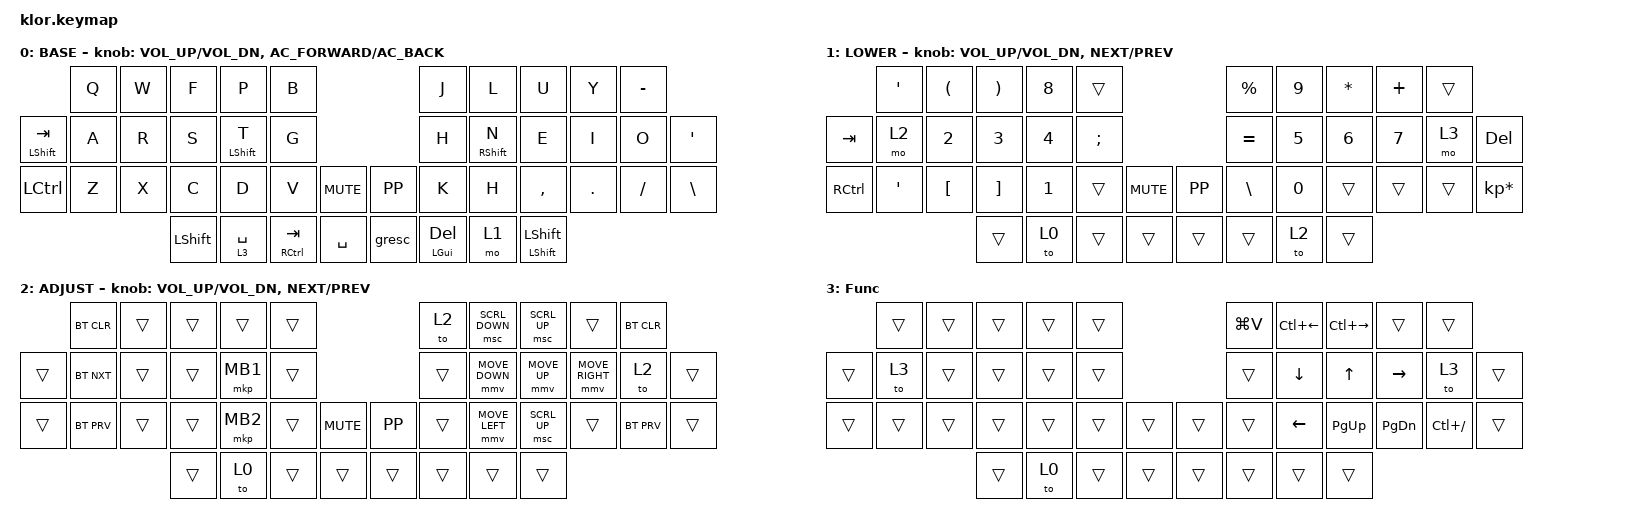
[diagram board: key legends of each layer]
//                               █         █    █            ▄▄▄▀▀▀▀▀▀▄▄▄        █▀▀▀▀▀▀▀▀▀▀█
//                               █        █     █          ▄▀            ▀▄      █          █
//                               █       █      █        ▄▀                ▀▄    █          █
//                               █      █       █        █                  █    █          █
//                               █     █        █       █                    █   █          █
//                               █    █         █       █                    █   █▄▄▄▄▄▄▄▄▄▄█
//                               █   █ █        █       █                    █   █      █
//                               █  █   █       █        █                  █    █       █
//                               █ █     █      █        ▀▄                ▄▀    █        █
//                               ██       █     █          ▀▄            ▄▀      █         █
//                               █         █    █▄▄▄▄▄▄▄▄    ▀▀▀▄▄▄▄▄▄▀▀▀        █          █
//
// ▄▄▄▄▄▄▄▄▄▄▄▄▄▄▄▄▄▄▄▄▄▄▄▄▄▄▄▄▄▄▄▄▄▄▄▄▄▄▄▄▄▄▄▄▄▄▄▄▄▄▄▄▄▄▄▄▄▄▄▄▄▄▄▄▄▄▄▄▄▄▄▄▄▄▄▄▄▄▄▄▄▄▄▄▄▄▄▄▄▄▄▄▄▄▄▄▄▄▄▄▄▄▄▄▄▄▄▄▄▄▄▄▄▄▄▄▄▄▄▄▄▄▄▄▄

#include <behaviors.dtsi>
#include <dt-bindings/zmk/bt.h>
#include <dt-bindings/zmk/keys.h>
#include <dt-bindings/zmk/pointing.h>
#include <dt-bindings/zmk/pointing.h>
#include <dt-bindings/zmk/pointing.h>

#define BASE   0
#define RAISE  1
#define LOWER  2
#define ADJUST 3

&led_strip { chain-length = <21>; };

&sensors {
    left_encoder { triggers-per-rotation = <15>; };

    right_encoder { triggers-per-rotation = <15>; };
};

/ {
    behaviors {
        hm: homerow_mods {
            compatible = "zmk,behavior-hold-tap";
            label = "HOMEROW_MODS";
            #binding-cells = <2>;
            tapping-term-ms = <250>;
            quick_tap_ms = <0>;
            flavor = "tap-preferred";
            bindings = <&kp>, <&kp>;
        };

        rotation: rotation {
            compatible = "zmk,behavior-sensor-rotate";
            label = "ROTATION";
            #sensor-binding-cells = <0>;
            bindings = <&none>, <&none>;
        };
    };

    combos {
        compatible = "zmk,combos";

        combo_esc {
            timeout-ms = <50>;
            key-positions = <1 2>;
            bindings = <&kp LC(C)>;
        };

        go0 {
            timeout-ms = <50>;
            key-positions = <37 42>;
            bindings = <&to 0>;
        };

        tab {
            bindings = <&kp TAB>;
            key-positions = <13 14>;
        };

        esc {
            bindings = <&kp ESC>;
            key-positions = <14 17>;
        };

        patse {
            bindings = <&kp LC(V)>;
            key-positions = <2 3>;
        };

        racket {
            bindings = <&kp LEFT_PARENTHESIS>;
            key-positions = <6 7>;
        };

        close_racket {
            bindings = <&kp RIGHT_PARENTHESIS>;
            key-positions = <7 8>;
        };

        to3 {
            bindings = <&to 3>;
            key-positions = <17 18>;
        };

        gui {
            bindings = <&sk LG(A)>;
            key-positions = <36 43>;
        };
    };

    keymap {
        compatible = "zmk,keymap";

        // ▄▄▄▄▄▄▄▄▄▄▄▄▄▄▄▄▄▄▄▄▄▄▄▄▄▄▄▄▄▄▄▄▄▄▄▄▄▄▄▄▄▄▄▄▄▄▄▄▄▄▄▄▄▄▄▄▄▄▄▄▄▄▄▄▄▄▄▄▄▄▄▄▄▄▄▄▄▄▄▄▄▄▄▄▄▄▄▄▄▄▄▄▄▄▄▄▄▄▄▄▄▄▄▄▄▄▄▄▄▄▄▄▄▄▄▄▄▄▄▄▄▄▄▄▄▄▄▄▄▄▄▄▄▄▄▄▄▄▄▄▄▄

        Colemak {
            // ┌───────────────────────────────────────────────────────────┐

            label = "BASE";

            // └───────────────────────────────────────────────────────────┘
            /*           ┌─────────┬─────────┬─────────┬─────────┬─────────┐                    ┌─────────┬─────────┬─────────┬─────────┬─────────┐
             │    Q    │    W    │    E    │    R    │    T    │                    │    Y    │    U    │    I    │    O    │    P    │   
   ┌─────────┼─────────┼─────────┼─────────┼─────────┼─────────┤                    ├─────────┼─────────┼─────────┼─────────┼─────────┼─────────┐
   │   TAB   │    A    │    S    │    D    │    F    │    G    │                    │    H    │    J    │    K    │    L    │    ;    │    '    │
   ├─────────┼─────────┼─────────┼─────────┼─────────┼─────────┤╭────────╮╭────────╮├─────────┼─────────┼─────────┼─────────┼─────────┼─────────┤
   │   CTRL  │    Z    │    X    │    C    │    V    │    B    ││  MUTE  ││PLY/PSE ││    N    │    M    │    ,    │    .    │    /    │    \    │
   └─────────┴─────────┴─────────┼─────────┼─────────┼─────────┼╰────────╯╰────────╯┼─────────┼─────────┼─────────┼─────────┴─────────┴─────────┘
                                 │  LALT   │  LOWER  │  RALT   │  SPACE  ││  BSPCE  │  ENTER  │  RAISE  │    DEL  │  
                                 └─────────┴─────────┴─────────┴─────────┘└─────────┴─────────┴─────────┴─────────┘ */

            bindings = <
               &kp Q  &kp W  &kp F           &kp P        &kp B                                &kp J             &kp L        &kp U                      &kp Y    &kp MINUS
&hm LSHFT TAB  &kp A  &kp R  &kp S           &hm LSHFT T  &kp G                                &kp H             &hm RSHFT N  &kp E                      &kp I    &kp O      &kp SQT
&kp LCTRL      &kp Z  &kp X  &kp C           &kp D        &kp V          &kp C_MUTE  &kp K_PP  &kp K             &kp H        &kp COMMA                  &kp DOT  &kp FSLH   &kp BSLH
                             &kp LEFT_SHIFT  &lt 3 SPACE  &mt RCTRL TAB  &kp SPACE   &gresc    &mt LEFT_GUI DEL  &mo 1        &mt LEFT_SHIFT LEFT_SHIFT
            >;

            sensor-bindings = <&inc_dec_kp C_VOL_UP C_VOL_DN &inc_dec_kp C_AC_FORWARD C_AC_BACK>;
        };

        Numb {
            // ┌───────────────────────────────────────────────────────────┐

            label = "LOWER";

            // └───────────────────────────────────────────────────────────┘
            /*           ┌─────────┬─────────┬─────────┬─────────┬─────────┐                    ┌─────────┬─────────┬─────────┬─────────┬─────────┐
             │   F1    │   F2    │   F3    │   F4    │   F5    │                    │   F6    │   F7    │   F8    │   F9    │   F10   │
   ┌─────────┼─────────┼─────────┼─────────┼─────────┼─────────┤                    ├─────────┼─────────┼─────────┼─────────┼─────────┼─────────┐
   │    -    │    !    │    @    │    #    │    $    │    %    │                    │    ^    │    &    │    `    │    ~    │    =    │    +    │
   ├─────────┼─────────┼─────────┼─────────┼─────────┼─────────┤╭────────╮╭────────╮├─────────┼─────────┼─────────┼─────────┼─────────┼─────────┤
   │    _    │    1    │    2    │    3    │    4    │    5    ││  MUTE  ││PLY/PASE││    6    │    7    │    8    │    9    │    0    │    *    │
   └─────────┴─────────┴─────────┼─────────┼─────────┼─────────┼╰────────╯╰────────╯┼─────────┼─────────┼─────────┼─────────┴─────────┴─────────┘
                                 │         │         │         │  LSHIFT ││  RSHIFT │         │         │         │  
                                 └─────────┴─────────┴─────────┴─────────┘└─────────┴─────────┴─────────┴─────────┘ */

            bindings = <
           &kp SQT  &kp LPAR          &kp RIGHT_PARENTHESIS  &kp N8        &trans                               &kp PERCENT  &kp N9  &kp ASTERISK  &kp PLUS  &trans
&kp TAB    &mo 2    &kp NUMBER_2      &kp NUMBER_3           &kp NUMBER_4  &kp SEMICOLON                        &kp EQUAL    &kp N5  &kp NUMBER_6  &kp N7    &mo 3   &kp DEL
&kp RCTRL  &kp SQT  &kp LEFT_BRACKET  &kp RIGHT_BRACKET      &kp NUMBER_1  &trans         &kp C_MUTE  &kp K_PP  &kp BSLH     &kp N0  &trans        &trans    &trans  &kp KP_MULTIPLY
                                      &trans                 &to 0         &trans         &trans      &trans    &trans       &to 2   &trans
            >;

            sensor-bindings = <&inc_dec_kp C_VOL_UP C_VOL_DN &inc_dec_kp C_NEXT C_PREV>;
        };

        Mouse {
            // ┌───────────────────────────────────────────────────────────┐

            label = "ADJUST";

            // └───────────────────────────────────────────────────────────┘
            /*           ┌─────────┬─────────┬─────────┬─────────┬─────────┐                    ┌─────────┬─────────┬─────────┬─────────┬─────────┐
             │ BT_CLR  │         │         │         │         │                    │         │         │         │         │ BT_CLR  │
   ┌─────────┼─────────┼─────────┼─────────┼─────────┼─────────┤                    ├─────────┼─────────┼─────────┼─────────┼─────────┼─────────┐
   │         │ BT_NXT  │         │         │         │         │                    │         │         │         │         │ BT_NXT  │         │
   ├─────────┼─────────┼─────────┼─────────┼─────────┼─────────┤╭────────╮╭────────╮├─────────┼─────────┼─────────┼─────────┼─────────┼─────────┤
   │         │ BT_PRV  │         │         │         │         ││  MUTE  ││PLY/PASE││         │         │         │         │ BT_PRV  │         │
   └─────────┴─────────┴─────────┼─────────┼─────────┼─────────┼╰────────╯╰────────╯┼─────────┼─────────┼─────────┼─────────┴─────────┴─────────┘
                                 │         │         │         │         ││         │         │         │         │  
                                 └─────────┴─────────┴─────────┴─────────┘└─────────┴─────────┴─────────┴─────────┘ */

            bindings = <
        &bt BT_CLR  &trans  &trans  &trans    &trans                        &to 2   &msc SCRL_DOWN  &msc SCRL_UP  &trans           &bt BT_CLR
&trans  &bt BT_NXT  &trans  &trans  &mkp MB1  &trans                        &trans  &mmv MOVE_DOWN  &mmv MOVE_UP  &mmv MOVE_RIGHT  &to 2       &trans
&trans  &bt BT_PRV  &trans  &trans  &mkp MB2  &trans  &kp C_MUTE  &kp K_PP  &trans  &mmv MOVE_LEFT  &msc SCRL_UP  &trans           &bt BT_PRV  &trans
                            &trans  &to 0     &trans  &trans      &trans    &trans  &trans          &trans
            >;

            sensor-bindings = <&inc_dec_kp C_VOL_UP C_VOL_DN &inc_dec_kp C_NEXT C_PREV>;
        };

        Func {
            bindings = <
        &trans  &trans  &trans  &trans  &trans                  &kp LG(V)  &kp LC(LEFT)  &kp LC(RIGHT)  &trans     &trans
&trans  &to 3   &trans  &trans  &trans  &trans                  &trans     &kp DOWN      &kp UP         &kp RIGHT  &to 3         &trans
&trans  &trans  &trans  &trans  &trans  &trans  &trans  &trans  &trans     &kp LEFT      &kp PG_UP      &kp PG_DN  &kp LC(FSLH)  &trans
                        &trans  &to 0   &trans  &trans  &trans  &trans     &trans        &trans
            >;
        };
    };
};
